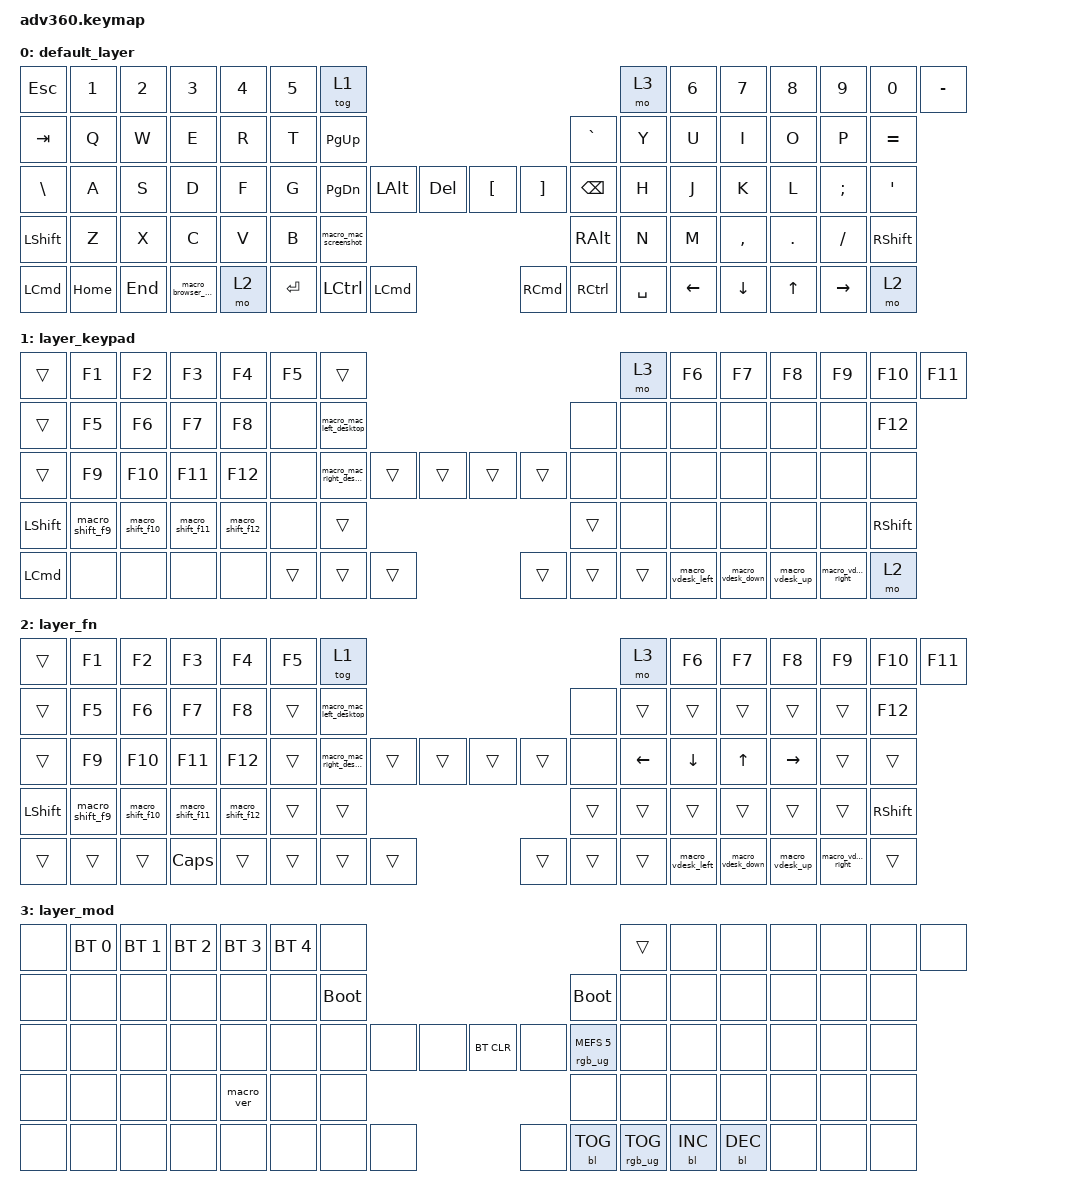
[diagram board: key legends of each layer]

/*
 * Copyright (c) 2020 The ZMK Contributors
 *
 * SPDX-License-Identifier: MIT
 */


/* THIS FILE WAS GENERATED!
 *
 * This file was generated automatically. You may or may not want to
 * edit it directly.
 */

#include <behaviors.dtsi>
#include <dt-bindings/zmk/keys.h>
#include <dt-bindings/zmk/bt.h>
#include <dt-bindings/zmk/rgb.h>
#include <dt-bindings/zmk/backlight.h>

/ {
  behaviors {
    #include "macros.dtsi"
    #include "version.dtsi"

    hm: homerow_mods {
        compatible = "zmk,behavior-hold-tap";
        label = "HOMEROW_MODS";
        #binding-cells = <2>;
        tapping-term-ms = <200>;
        quick_tap_ms = <175>;
        flavor = "tap-preferred";
        bindings = <&kp>, <&kp>;
    };
  };

    keymap {
        compatible = "zmk,keymap";


        default_layer {
            bindings = <
       &kp ESCAPE    &kp N1   &kp N2               &kp N3  &kp N4  &kp N5                   &tog 1                                                                                                         &mo 3  &kp N6    &kp N7     &kp N8   &kp N9     &kp N0  &kp MINUS
          &kp TAB     &kp Q    &kp W                &kp E   &kp R   &kp T              &kp PAGE_UP                                                                                                     &kp GRAVE   &kp Y     &kp U      &kp I    &kp O      &kp P  &kp EQUAL
    &kp BACKSLASH     &kp A    &kp S                &kp D   &kp F   &kp G            &kp PAGE_DOWN      &kp LEFT_ALT                &kp DEL                           &kp LBKT           &kp RBKT  &kp BACKSPACE   &kp H     &kp J      &kp K    &kp L   &kp SEMI    &kp SQT
        &kp LSHFT     &kp Z    &kp X                &kp C   &kp V   &kp B                                             &macro_mac_screenshot                      &kp RIGHT_ALT                                     &kp N     &kp M  &kp COMMA  &kp DOT   &kp FSLH  &kp RSHFT
 &kp LEFT_COMMAND  &kp HOME  &kp END  &macro_browser_back   &mo 2                        &kp ENTER  &kp LEFT_CONTROL       &kp LEFT_COMMAND                  &kp RIGHT_COMMAND  &kp RIGHT_CONTROL      &kp SPACE          &kp LEFT   &kp DOWN   &kp UP  &kp RIGHT      &mo 2
            >;
        };

        layer_keypad {
            bindings = <
           &trans           &kp F1            &kp F2            &kp F3            &kp F4  &kp F5                              &trans                                                   &mo 3  &kp F6             &kp F7             &kp F8           &kp F9             &kp F10    &kp F11
           &trans           &kp F5            &kp F6            &kp F7            &kp F8   &none             &macro_mac_left_desktop                                                   &none   &none              &none              &none            &none               &none    &kp F12
           &trans           &kp F9           &kp F10           &kp F11           &kp F12   &none            &macro_mac_right_desktop  &trans  &trans                  &trans  &trans   &none   &none              &none              &none            &none               &none      &none
        &kp LSHFT  &macro_shift_f9  &macro_shift_f10  &macro_shift_f11  &macro_shift_f12   &none                                              &trans                  &trans                   &none              &none              &none            &none               &none  &kp RSHFT
 &kp LEFT_COMMAND            &none             &none             &none             &none                                      &trans  &trans  &trans                  &trans  &trans  &trans          &macro_vdesk_left  &macro_vdesk_down  &macro_vdesk_up  &macro_vdesk_right      &mo 2
            >;
        };

        layer_fn {
            bindings = <
         &trans           &kp F1            &kp F2            &kp F3            &kp F4  &kp F5                              &tog 1                                                   &mo 3    &kp F6             &kp F7             &kp F8           &kp F9             &kp F10          &kp F11
         &trans           &kp F5            &kp F6            &kp F7            &kp F8  &trans             &macro_mac_left_desktop                                                   &none    &trans             &trans             &trans           &trans              &trans          &kp F12
         &trans           &kp F9           &kp F10           &kp F11           &kp F12  &trans            &macro_mac_right_desktop  &trans  &trans                  &trans  &trans   &none  &kp LEFT           &kp DOWN             &kp UP        &kp RIGHT              &trans           &trans
 &kp LEFT_SHIFT  &macro_shift_f9  &macro_shift_f10  &macro_shift_f11  &macro_shift_f12  &trans                                              &trans                  &trans                    &trans             &trans             &trans           &trans              &trans  &kp RIGHT_SHIFT
         &trans           &trans            &trans          &kp CAPS            &trans                                      &trans  &trans  &trans                  &trans  &trans  &trans            &macro_vdesk_left  &macro_vdesk_down  &macro_vdesk_up  &macro_vdesk_right           &trans
            >;
        };

        layer_mod {
            bindings = <
  &none  &bt BT_SEL 0  &bt BT_SEL 1  &bt BT_SEL 2  &bt BT_SEL 3  &bt BT_SEL 4                  &none                                                                          &trans   &none       &none       &none   &none   &none   &none
  &none         &none         &none         &none         &none         &none            &bootloader                                                                     &bootloader   &none       &none       &none   &none   &none   &none
  &none         &none         &none         &none         &none         &none                  &none   &none   &none                  &bt BT_CLR       &none  &rgb_ug RGB_MEFS_CMD 5   &none       &none       &none   &none   &none   &none
  &none         &none         &none         &none    &macro_ver         &none                                  &none                       &none                                       &none       &none       &none   &none   &none   &none
  &none         &none         &none         &none         &none                                &none   &none   &none                       &none  &bl BL_TOG         &rgb_ug RGB_TOG          &bl BL_INC  &bl BL_DEC   &none   &none   &none
            >;
        };

    };
};
